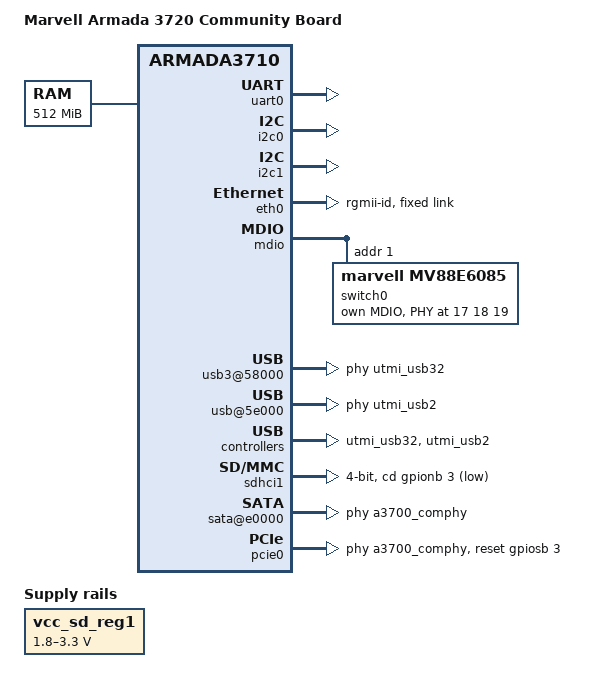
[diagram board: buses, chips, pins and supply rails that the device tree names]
/*
 * Device Tree file for Marvell Armada 3720 community board
 * Copyright (C) 2016 Marvell
 *
 * This file is dual-licensed: you can use it either under the terms
 * of the GPL or the X11 license, at your option. Note that this dual
 * licensing only applies to this file, and not this project as a
 * whole.
 *
 *  a) This file is free software; you can redistribute it and/or
 *     modify it under the terms of the GNU General Public License as
 *     published by the Free Software Foundation; either version 2 of the
 *     License, or (at your option) any later version.
 *
 *     This file is distributed in the hope that it will be useful
 *     but WITHOUT ANY WARRANTY; without even the implied warranty of
 *     MERCHANTABILITY or FITNESS FOR A PARTICULAR PURPOSE.  See the
 *     GNU General Public License for more details.
 *
 * Or, alternatively
 *
 *  b) Permission is hereby granted, free of charge, to any person
 *     obtaining a copy of this software and associated documentation
 *     files (the "Software"), to deal in the Software without
 *     restriction, including without limitation the rights to use
 *     copy, modify, merge, publish, distribute, sublicense, and/or
 *     sell copies of the Software, and to permit persons to whom the
 *     Software is furnished to do so, subject to the following
 *     conditions:
 *
 *     The above copyright notice and this permission notice shall be
 *     included in all copies or substantial portions of the Software.
 *
 *     THE SOFTWARE IS PROVIDED , WITHOUT WARRANTY OF ANY KIND
 *     EXPRESS OR IMPLIED, INCLUDING BUT NOT LIMITED TO THE WARRANTIES
 *     OF MERCHANTABILITY, FITNESS FOR A PARTICULAR PURPOSE AND
 *     NONINFRINGEMENT. IN NO EVENT SHALL THE AUTHORS OR COPYRIGHT
 *     HOLDERS BE LIABLE FOR ANY CLAIM, DAMAGES OR OTHER LIABILITY
 *     WHETHER IN AN ACTION OF CONTRACT, TORT OR OTHERWISE, ARISING
 *     FROM, OUT OF OR IN CONNECTION WITH THE SOFTWARE OR THE USE OR
 *     OTHER DEALINGS IN THE SOFTWARE.
 */

/dts-v1/;

#include "armada-372x.dtsi"

/ {
	model = "Marvell Armada 3720 Community Board";
	compatible = "marvell,armada-3720-community", "marvell,armada3720", "marvell,armada3710";

	chosen {
		stdout-path = "serial0:115200n8";
	};

	memory {
		device_type = "memory";
		reg = <0x00000000 0x00000000 0x00000000 0x20000000>;
	};

	soc {
		internal-regs {
			uart0: serial@12000 {
				status = "okay";
			};

			i2c0: i2c@11000 {
				status = "okay";
			};

			i2c1: i2c@11080 {
				status = "okay";
			};

			reg_avs: avs@11500 {
				status = "okay";
			};

			eth0: ethernet@30000 {
				pinctrl-names = "default";
				pinctrl-0 = <&rgmii_pins>, <&smi_pins>;
				phy-mode = "rgmii-id";
				status = "okay";
				buffer-manager = <&bm>;
				bm,pool-long = <1>;
				bm,pool-short = <3>;
				fixed-link {
					speed = <1000>;
					full-duplex;
				};
			};

			mdio: mdio@32004 {
				switch0: switch@0 {
					compatible = "marvell,mv88e6085";
					reg = <1>;

					mdio@0 {
						#address-cells = <1>;
						#size-cells = <0>;

						phy1: phy1@1 {
							reg = <17>;
						};
						phy2: phy2@2 {
							reg = <18>;
						};
						phy3: phy3@3 {
							reg = <19>;
						};
					};
				};
			};

			u3d@50000 {
				status = "disabled";
				phys = <&a3700_comphy 0 COMPHY_USB3>;
				phy-names = "usb";
			};

			udc@54100 {
				status = "disabled";
				phys = <&utmi_usb32>;
				phy-names = "usb";
			};

			usb3@58000 {
				compatible = "generic-xhci";
				status = "okay";
				phys = <&utmi_usb32>, /* utmi usb32 dedicated phy */
				       <&a3700_comphy 0 COMPHY_USB3>; /* usb3 comphy */
				phy-names = "usb2", "usb3";
			};

			usb@5e000 {
				status = "okay";
				phys = <&utmi_usb2>;
				phy-names = "usb";
			};

			utmi_usb32: utmi@5d000 {
				status = "okay";
			};

			utmi_usb2: utmi@5f000 {
				status = "okay";
			};

			sdhci1: sdhci@d0000 {
				wp-inverted;
				bus-width = <4>;
				cd-gpios = <&gpionb 3 GPIO_ACTIVE_LOW>;
				no-1-8-v;
				vqmmc-supply = <&vcc_sd_reg1>;
				marvell,pad-type = "sd";
				status = "okay";

				pinctrl-names = "default";
				pinctrl-0 = <&sdio_pins>;
			};

			sata@e0000 {
				phys = <&a3700_comphy 2 COMPHY_SATA0>;
				status = "okay";
			};

			vcc_sd_reg1: regulator@0 {
				compatible = "regulator-gpio";
				regulator-name = "vcc_sd1";
				regulator-min-microvolt = <1800000>;
				regulator-max-microvolt = <3300000>;
				regulator-boot-on;

				gpios = <&gpionb 4 GPIO_ACTIVE_HIGH>;
				gpios-states = <0>;
				states = <1800000 0x1
					  3300000 0x0>;

				enable-active-high;
			};

			eip97: eip97@90000 {
				status = "okay";
			};
		};
	};
	dsa@0 {
		compatible = "marvell,dsa";
		dsa,ethernet = <&eth0>;
		dsa,mii-bus = <&mdio>;
		#address-cells = <2>;
		#size-cells = <0>;

		switch@0 {
				#address-cells = <1>;
				#size-cells = <0>;
				reg = <1 0>;

				port@0 {
						reg = <0>;
						label = "cpu";
						fixed-link {
							speed = <1000>;
							full-duplex;
						};
				};

				port@1 {
						reg = <1>;
						label = "wan";
						phy-handle = <&phy1>;
				};

				port@2 {
						reg = <2>;
						label = "lan0";
						phy-handle = <&phy2>;
				};

				port@3 {
						reg = <3>;
						label = "lan1";
						phy-handle = <&phy3>;
				};
		};
	};
};

&pcie0 {
	pinctrl-names = "default";
	pinctrl-0 = <&pcie_pins>;
	status = "okay";
	phys = <&a3700_comphy 1 COMPHY_PCIE0>;
	phy-names = "comphy";
	reset-gpios = <&gpiosb 3 GPIO_ACTIVE_HIGH>;
};
